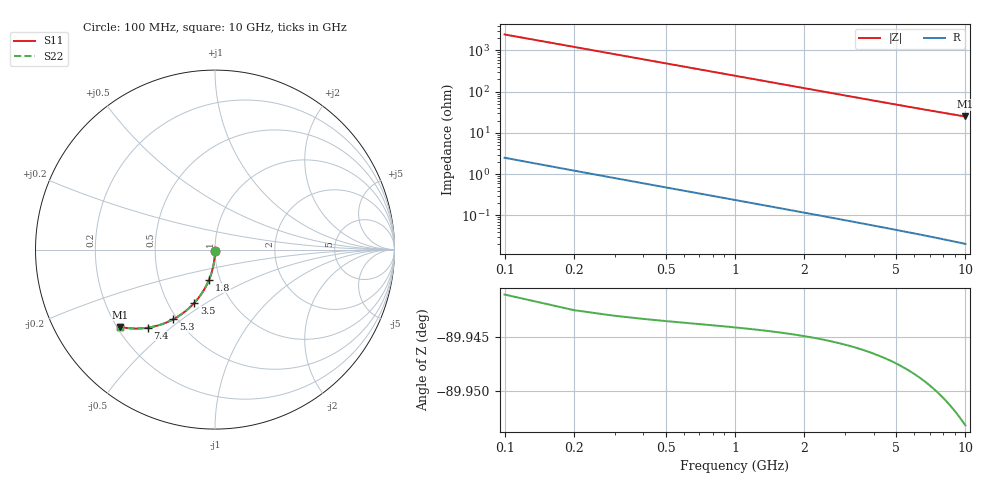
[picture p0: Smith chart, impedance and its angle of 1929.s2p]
# Hz S RI R 50.00
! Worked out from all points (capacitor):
!   100 points, 100 MHz to 10 GHz, reference 50 ohm
!   read as one part in shunt: C = 653 fF near 100 MHz
!   lowest |Z| = 25.1 ohm at 10 GHz (marker M1)
!   S11 on the Smith chart (normalised r, x): 100 MHz: 1.00, -0.02; 1.8 GHz: 0.89, -0.31; 3.5 GHz: 0.67, -0.45; 5.3 GHz: 0.48, -0.46; 7.4 GHz: 0.32, -0.42; 10 GHz: 0.21, -0.34
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1e8  3.07e-05 -0.00961  0.9997 -0.0109  0.9997 -0.0109  3.07e-05 -0.00961
2e8  -0.000293 -0.0192  0.9994 -0.0218  0.9994 -0.0218  -0.000293 -0.0192
3e8  -0.000826 -0.0288  0.9989 -0.0327  0.9989 -0.0327  -0.000826 -0.0288
4e8  -0.00157 -0.0384  0.9981 -0.0436  0.9981 -0.0436  -0.00157 -0.0384
5e8  -0.00252 -0.0479  0.9972 -0.0544  0.9972 -0.0544  -0.00252 -0.0479
6e8  -0.00368 -0.0575  0.996 -0.0653  0.996 -0.0653  -0.00368 -0.0575
8e8  -0.00661 -0.0764  0.993 -0.0868  0.993 -0.0868  -0.00661 -0.0764
1.1e9  -0.0125 -0.1044  0.9871 -0.1187  0.9871 -0.1187  -0.0125 -0.1044
1.4e9  -0.0202 -0.1319  0.9793 -0.1501  0.9793 -0.1501  -0.0202 -0.1319
1.8e9  -0.0331 -0.1674  0.9663 -0.1908  0.9663 -0.1908  -0.0331 -0.1674
2.1e9  -0.0446 -0.1929  0.9548 -0.2203  0.9548 -0.2203  -0.0446 -0.1929
2.5e9  -0.0622 -0.2254  0.937 -0.258  0.937 -0.258  -0.0622 -0.2254
2.9e9  -0.0821 -0.2558  0.9169 -0.2937  0.9169 -0.2937  -0.0821 -0.2558
3.4e9  -0.1097 -0.2907  0.8889 -0.3351  0.8889 -0.3351  -0.1097 -0.2907
3.5e9  -0.1156 -0.2972  0.883 -0.343  0.883 -0.343  -0.1156 -0.2972
4.3e9  -0.1656 -0.3438  0.8325 -0.4003  0.8325 -0.4003  -0.1656 -0.3438
5.1e9  -0.2192 -0.3805  0.7782 -0.4477  0.7782 -0.4477  -0.2192 -0.3805
5.3e9  -0.2329 -0.3881  0.7643 -0.458  0.7643 -0.458  -0.2329 -0.3881
6.7e9  -0.3292 -0.4257  0.6665 -0.5147  0.6665 -0.5147  -0.3292 -0.4257
7.4e9  -0.3758 -0.4351  0.619 -0.5338  0.619 -0.5338  -0.3758 -0.4351
8.4e9  -0.4389 -0.4397  0.5544 -0.5525  0.5544 -0.5525  -0.4389 -0.4397
1e10  -0.529 -0.4304  0.4614 -0.5662  0.4614 -0.5662  -0.529 -0.4304
